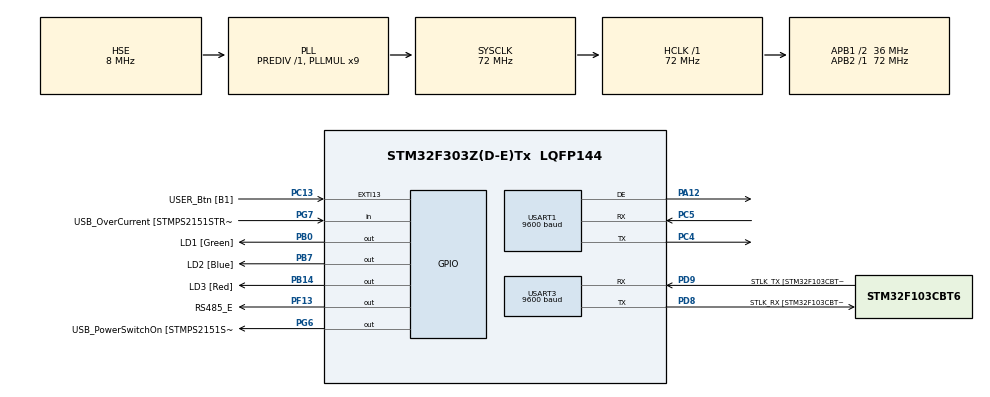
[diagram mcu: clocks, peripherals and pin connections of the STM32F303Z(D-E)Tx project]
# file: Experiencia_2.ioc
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Mcu.Family=STM32F3
Mcu.Name=STM32F303Z(D-E)Tx
Mcu.Package=LQFP144
NVIC.PriorityGroup=NVIC_PRIORITYGROUP_4
PA12.Mode=Hardware Flow Control (RS485)
PA12.Signal=USART1_DE
PA13.GPIO_Label=TMS
PA13.Mode=Serial_Wire
PA13.Signal=SYS_JTMS-SWDIO
PA14.GPIO_Label=TCK
PA14.Mode=Serial_Wire
PA14.Signal=SYS_JTCK-SWCLK
PB0.GPIO_Label=LD1 [Green]
PB0.Signal=GPIO_Output
PB14.GPIO_Label=LD3 [Red]
PB14.Signal=GPIO_Output
PB3.GPIO_Label=SWO
PB3.Signal=SYS_JTDO-TRACESWO
PB7.GPIO_Label=LD2 [Blue]
PB7.Signal=GPIO_Output
PC13.GPIO_Label=USER_Btn [B1]
PC13.Signal=GPXTI13
PC14-OSC32_IN.Mode=LSE-External-Oscillator
PC14-OSC32_IN.Signal=RCC_OSC32_IN
PC15-OSC32_OUT.Mode=LSE-External-Oscillator
PC15-OSC32_OUT.Signal=RCC_OSC32_OUT
PC4.Mode=Asynchronous
PC4.Signal=USART1_TX
PC5.Mode=Asynchronous
PC5.Signal=USART1_RX
PD8.GPIO_Label=STLK_RX [STM32F103CBT6_PA3]
PD8.Mode=Asynchronous
PD8.Signal=USART3_TX
PD9.GPIO_Label=STLK_TX [STM32F103CBT6_PA2]
PD9.Mode=Asynchronous
PD9.Signal=USART3_RX
PF0-OSC_IN.GPIO_Label=MCO [STM32F103CBT6_PA8]
PF0-OSC_IN.Mode=HSE-External-Clock-Source
PF0-OSC_IN.Signal=RCC_OSC_IN
PF13.GPIO_Label=RS485_E
PF13.Signal=GPIO_Output
PG6.GPIO_Label=USB_PowerSwitchOn [STMPS2151STR_EN]
PG6.Signal=GPIO_Output
PG7.GPIO_Label=USB_OverCurrent [STMPS2151STR_FAULT]
PG7.Signal=GPIO_Input
ProjectManager.HeapSize=0x200
ProjectManager.StackSize=0x400
ProjectManager.TargetToolchain=STM32CubeIDE
RCC.AHBFreq_Value=72000000
RCC.APB1CLKDivider=RCC_HCLK_DIV2
RCC.APB1Freq_Value=36000000
RCC.APB1TimFreq_Value=72000000
RCC.APB2Freq_Value=72000000
RCC.APB2TimFreq_Value=72000000
RCC.CortexFreq_Value=72000000
RCC.HCLKFreq_Value=72000000
RCC.HSE_VALUE=8000000
RCC.HSI_VALUE=8000000
RCC.PLLMUL=RCC_PLL_MUL9
RCC.PLLSourceVirtual=RCC_PLLSOURCE_HSE
RCC.PRESCALERUSB=RCC_USBCLKSOURCE_PLL_DIV1_5
RCC.SYSCLKFreq_VALUE=72000000
RCC.SYSCLKSourceVirtual=RCC_SYSCLKSOURCE_PLLCLK
RCC.USBFreq_Value=48000000
USART1.BaudRate=9600
USART1.VirtualMode-Asynchronous=VM_ASYNC
USART1.VirtualMode-Hardware\ Flow\ Control\ (RS485)=VM_ASYNC
USART3.BaudRate=9600
USART3.VirtualMode-Asynchronous=VM_ASYNC
VP_RTC_VS_RTC_Activate.Mode=RTC_Enabled
board=NUCLEO-F303ZE

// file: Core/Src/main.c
/* USER CODE BEGIN Header */
/**
 ******************************************************************************
 * @file           : main.c
 * @brief          : Main program body
 ******************************************************************************
 * @attention
 *
 * Copyright (c) 2024 STMicroelectronics.
 * All rights reserved.
 *
 * This software is licensed under terms that can be found in the LICENSE file
 * in the root directory of this software component.
 * If no LICENSE file comes with this software, it is provided AS-IS.
 *
 ******************************************************************************
 */
/* USER CODE END Header */
#include "main.h"
#include "rtc.h"
#include "usart.h"
#include "gpio.h"

/* USER CODE BEGIN PD */
#define RX_TX 		1		//RX = 0 | TX = 1
/* USER CODE END PD */

void SystemClock_Config(void);

int main(void) {

	/* MCU Configuration--------------------------------------------------------*/

	/* Reset of all peripherals, Initializes the Flash interface and the Systick. */
	HAL_Init();

	/* Configure the system clock */
	SystemClock_Config();

	/* Initialize all configured peripherals */
	MX_GPIO_Init();
	MX_RTC_Init();
	MX_USART3_UART_Init();
	MX_USART1_UART_Init();
	/* USER CODE BEGIN 2 */

	HAL_UART_MspInit(&huart1);
	HAL_UART_MspInit(&huart3);
	char message[5] = { 0 };

	/* USER CODE END 2 */

	/* Infinite loop */
	while (1) {

		/* USER CODE BEGIN 3 */
#if RX_TX
	HAL_GPIO_WritePin(LD1_GPIO_Port, LD1_Pin, GPIO_PIN_SET);
	HAL_GPIO_WritePin(RS485_E_GPIO_Port, RS485_E_Pin, GPIO_PIN_SET);
	USART_transmit_data(&huart1, "HOLA!");
	HAL_Delay(1000);
	HAL_GPIO_WritePin(LD1_GPIO_Port, LD1_Pin, GPIO_PIN_RESET);
	HAL_Delay(1000);
#else
	HAL_GPIO_WritePin(LD2_GPIO_Port, LD2_Pin, GPIO_PIN_SET);
	HAL_GPIO_WritePin(RS485_E_GPIO_Port, RS485_E_Pin, GPIO_PIN_RESET);
	USART_receive_data(&huart1, message, 5);
	USART_transmit_data(&huart3, message);
	HAL_GPIO_WritePin(LD2_GPIO_Port, LD2_Pin, GPIO_PIN_RESET);
#endif
	}
	/* USER CODE END 3 */
}

void SystemClock_Config(void) {
	RCC_OscInitTypeDef RCC_OscInitStruct = { 0 };
	RCC_ClkInitTypeDef RCC_ClkInitStruct = { 0 };
	RCC_PeriphCLKInitTypeDef PeriphClkInit = { 0 };

	/** Initializes the RCC Oscillators according to the specified parameters
	 * in the RCC_OscInitTypeDef structure.
	 */
	RCC_OscInitStruct.OscillatorType = RCC_OSCILLATORTYPE_LSI
			| RCC_OSCILLATORTYPE_HSE;
	RCC_OscInitStruct.HSEState = RCC_HSE_BYPASS;
	RCC_OscInitStruct.HSIState = RCC_HSI_ON;
	RCC_OscInitStruct.LSIState = RCC_LSI_ON;
	RCC_OscInitStruct.PLL.PLLState = RCC_PLL_ON;
	RCC_OscInitStruct.PLL.PLLSource = RCC_PLLSOURCE_HSE;
	RCC_OscInitStruct.PLL.PLLMUL = RCC_PLL_MUL9;
	RCC_OscInitStruct.PLL.PREDIV = RCC_PREDIV_DIV1;
	if (HAL_RCC_OscConfig(&RCC_OscInitStruct) != HAL_OK) {
		Error_Handler();
	}

	/** Initializes the CPU, AHB and APB buses clocks
	 */
	RCC_ClkInitStruct.ClockType = RCC_CLOCKTYPE_HCLK | RCC_CLOCKTYPE_SYSCLK
			| RCC_CLOCKTYPE_PCLK1 | RCC_CLOCKTYPE_PCLK2;
	RCC_ClkInitStruct.SYSCLKSource = RCC_SYSCLKSOURCE_PLLCLK;
	RCC_ClkInitStruct.AHBCLKDivider = RCC_SYSCLK_DIV1;
	RCC_ClkInitStruct.APB1CLKDivider = RCC_HCLK_DIV2;
	RCC_ClkInitStruct.APB2CLKDivider = RCC_HCLK_DIV1;

	if (HAL_RCC_ClockConfig(&RCC_ClkInitStruct, FLASH_LATENCY_2) != HAL_OK) {
		Error_Handler();
	}
	PeriphClkInit.PeriphClockSelection = RCC_PERIPHCLK_USART1
			| RCC_PERIPHCLK_USART3 | RCC_PERIPHCLK_RTC;
	PeriphClkInit.Usart1ClockSelection = RCC_USART1CLKSOURCE_PCLK2;
	PeriphClkInit.Usart3ClockSelection = RCC_USART3CLKSOURCE_PCLK1;
	PeriphClkInit.RTCClockSelection = RCC_RTCCLKSOURCE_LSI;
	if (HAL_RCCEx_PeriphCLKConfig(&PeriphClkInit) != HAL_OK) {
		Error_Handler();
	}
}

void Error_Handler(void) {
	__disable_irq();
	while (1) {
	}
}
